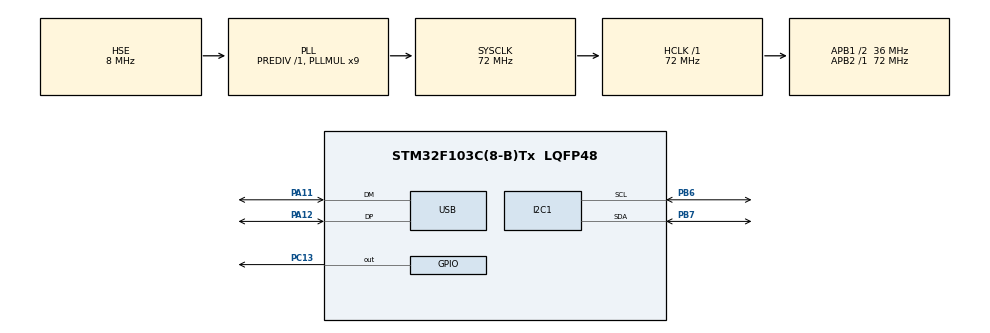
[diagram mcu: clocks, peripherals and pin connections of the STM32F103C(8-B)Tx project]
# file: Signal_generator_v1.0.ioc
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Mcu.Family=STM32F1
Mcu.Name=STM32F103C(8-B)Tx
Mcu.Package=LQFP48
NVIC.PriorityGroup=NVIC_PRIORITYGROUP_4
NVIC.USB_LP_CAN1_RX0_IRQn=true\:0\:0\:false\:false\:true\:false\:true\:true
PA11.Mode=Device
PA11.Signal=USB_DM
PA12.Mode=Device
PA12.Signal=USB_DP
PB6.Mode=I2C
PB6.Signal=I2C1_SCL
PB7.Mode=I2C
PB7.Signal=I2C1_SDA
PC13-TAMPER-RTC.Signal=GPIO_Output
PD0-OSC_IN.Mode=HSE-External-Oscillator
PD0-OSC_IN.Signal=RCC_OSC_IN
PD1-OSC_OUT.Mode=HSE-External-Oscillator
PD1-OSC_OUT.Signal=RCC_OSC_OUT
ProjectManager.HeapSize=0x200
ProjectManager.StackSize=0x400
ProjectManager.TargetToolchain=MDK-ARM V5.32
RCC.AHBFreq_Value=72000000
RCC.APB1CLKDivider=RCC_HCLK_DIV2
RCC.APB1Freq_Value=36000000
RCC.APB1TimFreq_Value=72000000
RCC.APB2Freq_Value=72000000
RCC.APB2TimFreq_Value=72000000
RCC.EnbaleCSS=true
RCC.HCLKFreq_Value=72000000
RCC.PLLMUL=RCC_PLL_MUL9
RCC.SYSCLKFreq_VALUE=72000000
RCC.SYSCLKSource=RCC_SYSCLKSOURCE_PLLCLK
RCC.USBFreq_Value=48000000
RCC.USBPrescaler=RCC_USBCLKSOURCE_PLL_DIV1_5
USB_DEVICE.CLASS_NAME_FS=CDC
USB_DEVICE.VirtualMode=Cdc
USB_DEVICE.VirtualModeFS=Cdc_FS
VP_SYS_VS_ND.Mode=No_Debug
VP_USB_DEVICE_VS_USB_DEVICE_CDC_FS.Mode=CDC_FS
board=custom

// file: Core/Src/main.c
/* USER CODE BEGIN Header */
//test comment
/**
  ******************************************************************************
  * @file           : main.c
  * @brief          : Main program body
  ******************************************************************************
  * @attention
  *
  * Copyright (c) 2023 STMicroelectronics.
  * All rights reserved.
  *
  * This software is licensed under terms that can be found in the LICENSE file
  * in the root directory of this software component.
  * If no LICENSE file comes with this software, it is provided AS-IS.
  *
  ******************************************************************************
  */
/* USER CODE END Header */

#include "main.h"
#include "usb_device.h"

/* USER CODE BEGIN Includes */
#include "usbd_cdc_if.h"
#include <string.h>
#include <stdio.h>
/* USER CODE END Includes */

I2C_HandleTypeDef hi2c1;

void SystemClock_Config(void);
static void MX_GPIO_Init(void);
static void MX_I2C1_Init(void);

int I2C_finder(uint16_t *DevAdress, uint8_t *pData);

	uint8_t usbd_buff[1024];
	//uint8_t data[] = {'H','e','l','l','o', ' '};

int main(void)
{

  /* MCU Configuration--------------------------------------------------------*/

  /* Reset of all peripherals, Initializes the Flash interface and the Systick. */
  HAL_Init();

  /* Configure the system clock */
  SystemClock_Config();

  /* Initialize all configured peripherals */
  MX_GPIO_Init();
  MX_I2C1_Init();
  MX_USB_DEVICE_Init();

  /* Infinite loop */
  /* USER CODE BEGIN WHILE */
	uint16_t DevAdress = 0x3c; //Add to adress R/W bit and for receive we can  DevAdress | 0x01 to beginning
	//uint16_t Data = 0x00; // + sizeof
	//uint8_t Timeout = 50;
  uint8_t I2C_Data = 0x07;
	uint8_t I2C_Recieve;
	uint8_t OLED_Write_REG = 0x81;

	//uint8_t data[] = {DevAdress, ((DevAdress<<1) | 0x01)};

  //DevAdress = (DevAdress << 1) | 0x01;
	//DevAdress = 0x00;

  //I2C_finder(&DevAdress, &I2C_Data);

	int write_status, read_status;

	uint8_t SSD1315_Display_On = 0xAF; //Display ON 0xAE - display off
	//Entire display on A4 from RAM /A5 clear
	uint8_t Data2 = 0x0;
	uint8_t SSD1315_ = 0xAF; //AE set disp off  / AF set disp on

  while (1)
  {
    /* USER CODE END WHILE */

		int write_status = HAL_I2C_Master_Transmit(&hi2c1, DevAdress << 1 | 0x01, &Data2, sizeof(Data2), 50 );
		HAL_I2C_Master_Transmit(&hi2c1, DevAdress << 1 | 0x01, &Data3, sizeof(Data2), 50 );
		//int write_status = HAL_I2C_Mem_Write(&hi2c1,(DevAdress << 1 | 0x01), OLED_Write_REG, sizeof(OLED_Write_REG), &I2C_Data,  sizeof(I2C_Data), 50); //10000001  or 81h
		//int read_status = HAL_I2C_Mem_Read(&hi2c1,(DevAdress << 1 | 0x00), OLED_Write_REG, sizeof(OLED_Write_REG), &I2C_Recieve,  sizeof(I2C_Recieve), 50);
		//if (write_status == HAL_OK) {
		if (write_status == HAL_OK) {
			char message0[] = "I2C Write is OK! \n";
			CDC_Transmit_FS((uint8_t*) message0, (uint16_t) sizeof(message0));}

		//if(read_status == HAL_OK) {
			//char message0[] = "I2C Read is OK! \n";
			//CDC_Transmit_FS((uint8_t*) message0, (uint16_t) sizeof(message0));}

		HAL_GPIO_TogglePin(GPIOC, GPIO_PIN_13);
		HAL_Delay(1500);

		//if (usbd_buff[0] != 0)
		//HAL_GPIO_TogglePin(GPIOC, GPIO_PIN_13);
		//HAL_Delay(500);

		//(HAL_I2C_Master_Transmit(&hi2c1, (DevAdress<<1) | 0x01, &Data, sizeof(Data), 50) != HAL_OK)
		//Display data sent
		//HAL_I2C_Master_Receive(hi2c1, DevAdress, pData, Size, Timeout);
		//HAL_I2C_Mem_Write();
		//HAL_I2C_Mem_Read();
	}//END OF WHILE

 } //END OF MAIN

void SystemClock_Config(void)
{
  RCC_OscInitTypeDef RCC_OscInitStruct = {0};
  RCC_ClkInitTypeDef RCC_ClkInitStruct = {0};
  RCC_PeriphCLKInitTypeDef PeriphClkInit = {0};

  /** Initializes the RCC Oscillators according to the specified parameters
  * in the RCC_OscInitTypeDef structure.
  */
  RCC_OscInitStruct.OscillatorType = RCC_OSCILLATORTYPE_HSE;
  RCC_OscInitStruct.HSEState = RCC_HSE_ON;
  RCC_OscInitStruct.HSEPredivValue = RCC_HSE_PREDIV_DIV1;
  RCC_OscInitStruct.HSIState = RCC_HSI_ON;
  RCC_OscInitStruct.PLL.PLLState = RCC_PLL_ON;
  RCC_OscInitStruct.PLL.PLLSource = RCC_PLLSOURCE_HSE;
  RCC_OscInitStruct.PLL.PLLMUL = RCC_PLL_MUL9;
  if (HAL_RCC_OscConfig(&RCC_OscInitStruct) != HAL_OK)
  {
    Error_Handler();
  }

  /** Initializes the CPU, AHB and APB buses clocks
  */
  RCC_ClkInitStruct.ClockType = RCC_CLOCKTYPE_HCLK|RCC_CLOCKTYPE_SYSCLK
                              |RCC_CLOCKTYPE_PCLK1|RCC_CLOCKTYPE_PCLK2;
  RCC_ClkInitStruct.SYSCLKSource = RCC_SYSCLKSOURCE_PLLCLK;
  RCC_ClkInitStruct.AHBCLKDivider = RCC_SYSCLK_DIV1;
  RCC_ClkInitStruct.APB1CLKDivider = RCC_HCLK_DIV2;
  RCC_ClkInitStruct.APB2CLKDivider = RCC_HCLK_DIV1;

  if (HAL_RCC_ClockConfig(&RCC_ClkInitStruct, FLASH_LATENCY_2) != HAL_OK)
  {
    Error_Handler();
  }
  PeriphClkInit.PeriphClockSelection = RCC_PERIPHCLK_USB;
  PeriphClkInit.UsbClockSelection = RCC_USBCLKSOURCE_PLL_DIV1_5;
  if (HAL_RCCEx_PeriphCLKConfig(&PeriphClkInit) != HAL_OK)
  {
    Error_Handler();
  }

  /** Enables the Clock Security System
  */
  HAL_RCC_EnableCSS();
}

static void MX_I2C1_Init(void)
{

  hi2c1.Instance = I2C1;
  hi2c1.Init.ClockSpeed = 100000;
  hi2c1.Init.DutyCycle = I2C_DUTYCYCLE_2;
  hi2c1.Init.OwnAddress1 = 0;
  hi2c1.Init.AddressingMode = I2C_ADDRESSINGMODE_7BIT;
  hi2c1.Init.DualAddressMode = I2C_DUALADDRESS_DISABLE;
  hi2c1.Init.OwnAddress2 = 0;
  hi2c1.Init.GeneralCallMode = I2C_GENERALCALL_DISABLE;
  hi2c1.Init.NoStretchMode = I2C_NOSTRETCH_DISABLE;
  if (HAL_I2C_Init(&hi2c1) != HAL_OK)
  {
    Error_Handler();
  }

}

static void MX_GPIO_Init(void)
{
  GPIO_InitTypeDef GPIO_InitStruct = {0};

  /* GPIO Ports Clock Enable */
  __HAL_RCC_GPIOC_CLK_ENABLE();
  __HAL_RCC_GPIOD_CLK_ENABLE();
  __HAL_RCC_GPIOA_CLK_ENABLE();
  __HAL_RCC_GPIOB_CLK_ENABLE();

  /*Configure GPIO pin Output Level */
  HAL_GPIO_WritePin(GPIOC, GPIO_PIN_13, GPIO_PIN_RESET);

  /*Configure GPIO pin : PC13 */
  GPIO_InitStruct.Pin = GPIO_PIN_13;
  GPIO_InitStruct.Mode = GPIO_MODE_OUTPUT_PP;
  GPIO_InitStruct.Pull = GPIO_NOPULL;
  GPIO_InitStruct.Speed = GPIO_SPEED_FREQ_LOW;
  HAL_GPIO_Init(GPIOC, &GPIO_InitStruct);

}

/* USER CODE BEGIN 4 */

	int I2C_finder(uint16_t *DevAdress, uint8_t *pData) //In dev Adress - Return: 0 - found /1 - not found
{
	char data[] = "\n\nTrying to find I2C-device...\n";
	CDC_Transmit_FS((uint8_t*) data, (uint16_t) sizeof(data));

	HAL_Delay(100);

	if (HAL_I2C_Master_Transmit(&hi2c1, *DevAdress, pData, sizeof(*pData), 50) == HAL_OK)
			{
				char message0[32];
				sprintf(message0, "%d", *DevAdress);
				CDC_Transmit_FS((uint8_t*) message0, (uint16_t) sizeof(message0));
				HAL_Delay(100);
				char message1[] = "- I2C Adress is found! \n";
				CDC_Transmit_FS((uint8_t*) message1, (uint16_t) sizeof(message1));

				for (int j = 0; j<3; j++)
				{
					HAL_GPIO_TogglePin(GPIOC, GPIO_PIN_13);
					HAL_Delay(1000);
				}
				return 0;
			}
	else
			{
				*DevAdress = 0;
				for (int i = 0; i<255; i++) //Try get A from all addresses
			  {
					if (HAL_I2C_Master_Transmit(&hi2c1, *DevAdress, pData, sizeof(*pData), 50) != HAL_OK)
					{
					  char message2[10];
						sprintf(message2, "%d", *DevAdress);
						CDC_Transmit_FS((uint8_t*) message2, (uint16_t) sizeof(message2));
						char message3[] = " - I2C Adress is not found!\n"; //Char assign to address
						HAL_Delay(120);
						CDC_Transmit_FS((uint8_t*) message3, (uint16_t) sizeof(message3)); //Delete (uint16_t) from sizeof

						*DevAdress = *DevAdress + 1;
						HAL_GPIO_TogglePin(GPIOC, GPIO_PIN_13);
						//HAL_Delay(20);
					}
					else
					{
						char message4[10];
						sprintf(message4, "%d", *DevAdress);
						CDC_Transmit_FS((uint8_t*) message4, (uint16_t) sizeof(message4));
						HAL_Delay(100);
						char message5[] = "I2C Adress is found! \n";
						CDC_Transmit_FS((uint8_t*) message5, (uint16_t) sizeof(message5));

						for (int j = 0; j<3; j++)
						{
							HAL_GPIO_TogglePin(GPIOC, GPIO_PIN_13);
							HAL_Delay(1000);
						}
						return 0;
				   }

			    }
		   }

			char message6[] = "\nI2C Adress is not found!\n";
			CDC_Transmit_FS((uint8_t*) message6, (uint16_t) sizeof(message6));
			return 1;
}

/* USER CODE END 4 */

void Error_Handler(void)
{
  __disable_irq();
  while (1)
  {
  }
}
